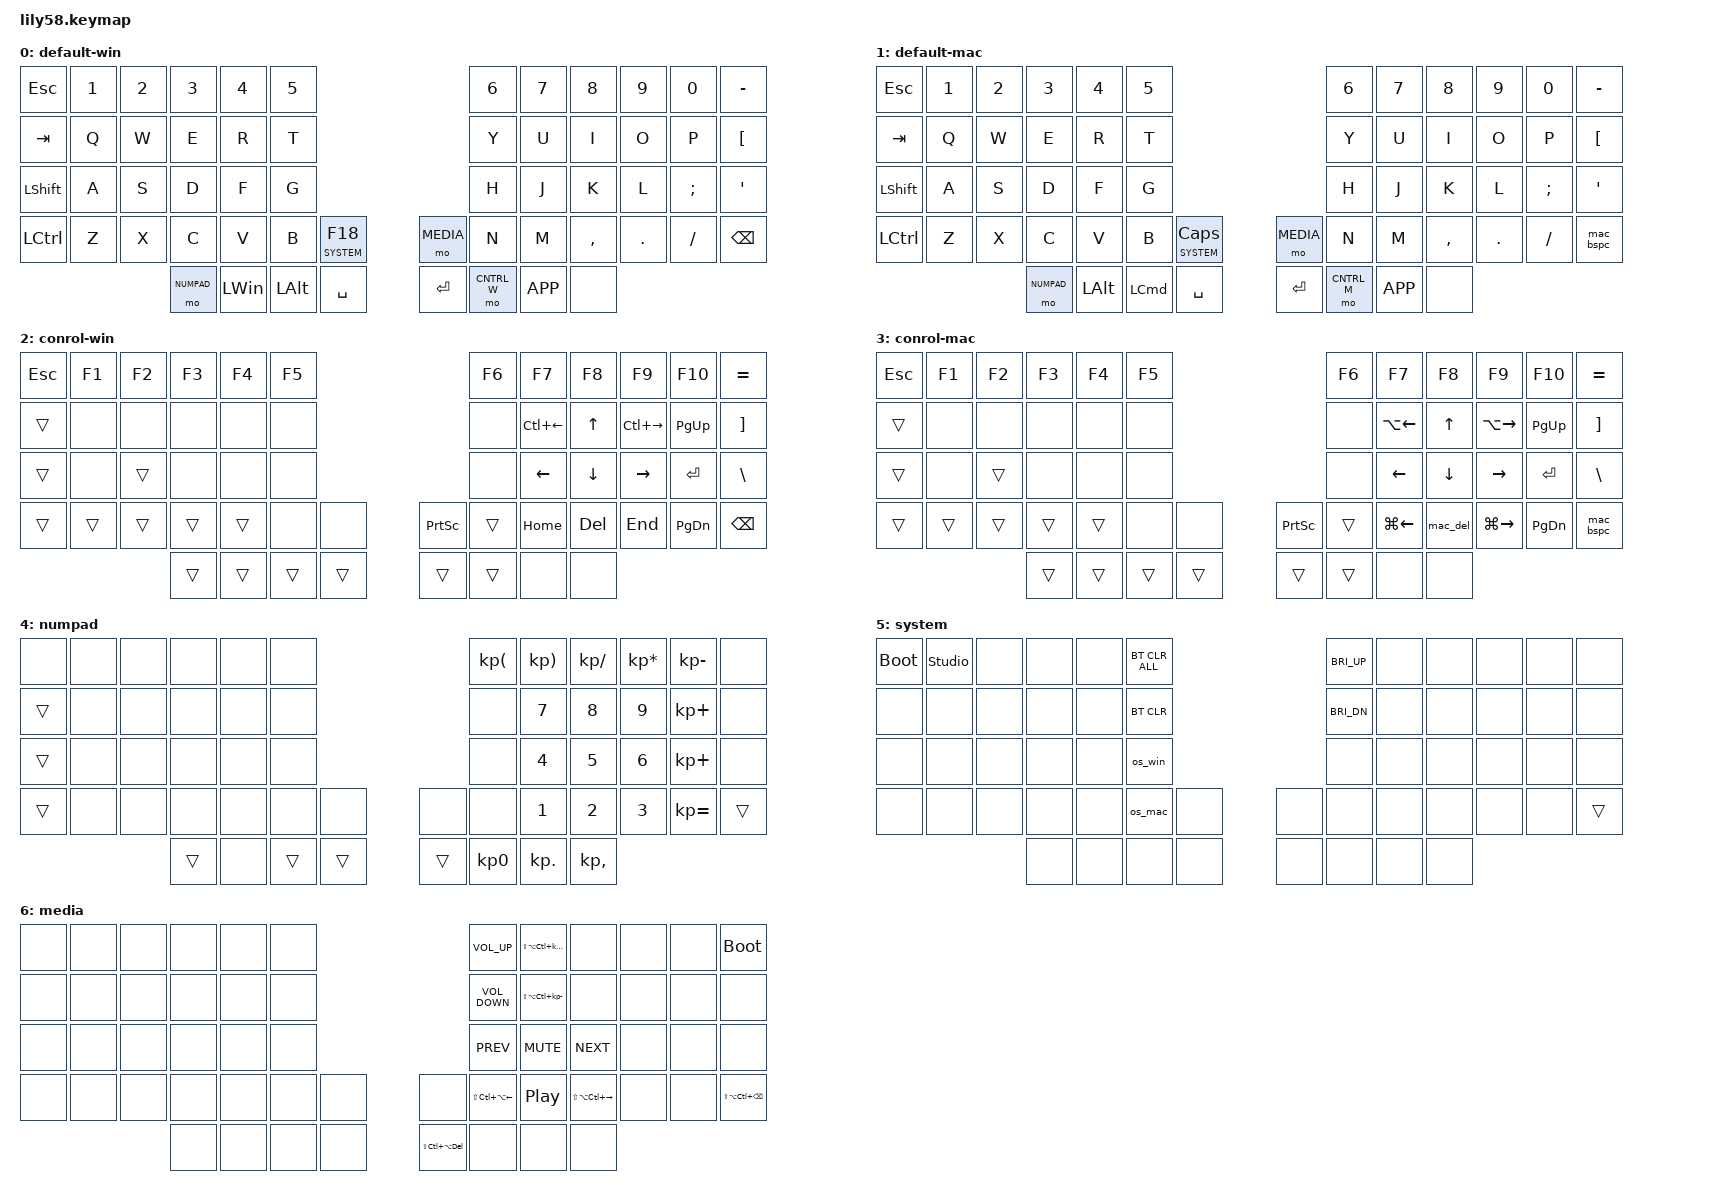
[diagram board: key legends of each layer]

#include <behaviors.dtsi>
#include <dt-bindings/zmk/bt.h>
#include <dt-bindings/zmk/keys.h>

#define DEF_WIN 0
#define DEF_MAC 1
#define CNTRL_W 2
#define CNTRL_M 3
#define NUMPAD  4
#define SYSTEM  5
#define MEDIA   6

/ {
    combos {
        compatible = "zmk,combos";

        combo_grave {
            timeout-ms = <150>;
            key-positions = <0 1>;
            bindings = <&kp GRAVE>;
        };
    };

    behaviors {
        ss_hs_modmorph: ss_hs_modmorph {
            compatible = "zmk,behavior-mod-morph";
            bindings = <&kp M>, <&kp RIGHT_BRACKET>;

            #binding-cells = <0>;
            mods = <(MOD_LSFT|MOD_RSFT)>;
        };

        kh_hs_tapdance: kh_hs_tapdance {
            compatible = "zmk,behavior-tap-dance";
            #binding-cells = <0>;
            tapping-term-ms = <200>;
            bindings = <&kp LEFT_BRACKET>, <&kp RIGHT_BRACKET>;
        };

        os_win: os_win {
            compatible = "zmk,behavior-macro";
            label = "OS_WIN";
            #binding-cells = <0>;
            bindings = <
                &bt BT_SEL 0     // подключиться к Windows
                &to DEF_WIN      // переключить базовый слой на default_win
            >;
        };

        os_mac: os_mac {
            compatible = "zmk,behavior-macro";
            label = "OS_MAC";
            #binding-cells = <0>;
            bindings = <
                &bt BT_SEL 1     // подключиться к macOS
                &to DEF_MAC      // переключить базовый слой на default_mac
            >;
        };

        lang_switch: lang_switch {
            compatible = "zmk,behavior-hold-tap";
            display-name = "Lang-Switch";
            #binding-cells = <2>;
            flavor = "tap-preferred";
            tapping-term-ms = <250>;
            quick-tap-ms = <250>;
            bindings = <&mo>, <&kp>;
        };

        mac_bspc: mac_bspc {
            compatible = "zmk,behavior-mod-morph";
            #binding-cells = <0>;
            mods = <(MOD_LSFT | MOD_RSFT)>;
            keep-mods = <0>;
            bindings = <&kp BACKSPACE>, <&kp BACKSPACE>;
        };

        mac_del: mac_del {
            compatible = "zmk,behavior-mod-morph";
            #binding-cells = <0>;
            mods = <(MOD_LSFT | MOD_RSFT)>;
            keep-mods = <0>;
            bindings = <&kp DELETE>, <&kp DELETE>;
        };
    };

    keymap {
        compatible = "zmk,keymap";

        default_win {
            bindings = <
&kp ESCAPE      &kp N1  &kp N2  &kp N3        &kp N4        &kp N5                                            &kp N6       &kp N7     &kp N8     &kp N9   &kp N0    &kp MINUS
&kp TAB         &kp Q   &kp W   &kp E         &kp R         &kp T                                             &kp Y        &kp U      &kp I      &kp O    &kp P     &kp LEFT_BRACKET
&kp LEFT_SHIFT  &kp A   &kp S   &kp D         &kp F         &kp G                                             &kp H        &kp J      &kp K      &kp L    &kp SEMI  &kp SQT
&kp LCTRL       &kp Z   &kp X   &kp C         &kp V         &kp B         &lang_switch SYSTEM F18  &mo MEDIA  &kp N        &kp M      &kp COMMA  &kp DOT  &kp FSLH  &kp BACKSPACE
                                &mo NUMPAD    &kp LEFT_WIN  &kp LEFT_ALT  &kp SPACE                &kp RET    &mo CNTRL_W  &kp K_APP  &none
            >;

            display-name = "default-win";
        };

        default_mac {
            bindings = <
&kp ESCAPE      &kp N1  &kp N2  &kp N3        &kp N4        &kp N5                                          &kp N6       &kp N7     &kp N8     &kp N9   &kp N0    &kp MINUS
&kp TAB         &kp Q   &kp W   &kp E         &kp R         &kp T                                           &kp Y        &kp U      &kp I      &kp O    &kp P     &kp LEFT_BRACKET
&kp LEFT_SHIFT  &kp A   &kp S   &kp D         &kp F         &kp G                                           &kp H        &kp J      &kp K      &kp L    &kp SEMI  &kp SQT
&kp LCTRL       &kp Z   &kp X   &kp C         &kp V         &kp B     &lang_switch SYSTEM CAPS   &mo MEDIA  &kp N        &kp M      &kp COMMA  &kp DOT  &kp FSLH  &mac_bspc
                                &mo NUMPAD    &kp LEFT_ALT  &kp LCMD  &kp SPACE                  &kp RET    &mo CNTRL_M  &kp K_APP  &none
            >;

            display-name = "default-mac";
        };

        control_win {
            bindings = <
&kp ESC  &kp F1  &kp F2  &kp F3  &kp F4  &kp F5                             &kp F6  &kp F7        &kp F8      &kp F9         &kp F10    &kp EQUAL
&trans   &none   &none   &none   &none   &none                              &none   &kp LC(LEFT)  &kp UP      &kp LC(RIGHT)  &kp PG_UP  &kp RIGHT_BRACKET
&trans   &none   &trans  &none   &none   &none                              &none   &kp LEFT      &kp DOWN    &kp RIGHT      &kp ENTER  &kp BACKSLASH
&trans   &trans  &trans  &trans  &trans  &none   &none     &kp PRINTSCREEN  &trans  &kp HOME      &kp DELETE  &kp END        &kp PG_DN  &kp BACKSPACE
                         &trans  &trans  &trans  &trans    &trans           &trans  &none         &none
            >;

            display-name = "conrol-win";
        };
        
        control_mac {
            bindings = <
&kp ESC  &kp F1  &kp F2  &kp F3  &kp F4  &kp F5                             &kp F6  &kp F7        &kp F8      &kp F9         &kp F10    &kp EQUAL
&trans   &none   &none   &none   &none   &none                              &none   &kp LA(LEFT)  &kp UP      &kp LA(RIGHT)  &kp PG_UP  &kp RIGHT_BRACKET
&trans   &none   &trans  &none   &none   &none                              &none   &kp LEFT      &kp DOWN    &kp RIGHT      &kp ENTER  &kp BACKSLASH
&trans   &trans  &trans  &trans  &trans  &none   &none     &kp PRINTSCREEN  &trans  &kp LG(LEFT)  &mac_del    &kp LG(RIGHT)  &kp PG_DN  &mac_bspc
                         &trans  &trans  &trans  &trans    &trans           &trans  &none         &none
            >;

            display-name = "conrol-mac";
        };

        additional {
            bindings = <
&none   &none  &none  &none   &none  &none                     &kp KP_LEFT_PARENTHESIS  &kp KP_RIGHT_PARENTHESIS  &kp KP_DIVIDE  &kp KP_MULTIPLY  &kp KP_MINUS  &none
&trans  &none  &none  &none   &none  &none                     &none                    &kp N7                    &kp N8         &kp N9           &kp KP_PLUS   &none
&trans  &none  &none  &none   &none  &none                     &none                    &kp N4                    &kp N5         &kp N6           &kp KP_PLUS   &none
&trans  &none  &none  &none   &none  &none   &none     &none   &none                    &kp N1                    &kp N2         &kp N3           &kp KP_EQUAL  &trans
                      &trans  &none  &trans  &trans    &trans  &kp KP_N0                &kp KP_DOT                &kp KP_COMMA
            >;

            display-name = "numpad";
        };

        system {
            bindings = <
&bootloader  &studio_unlock &none  &none  &none  &bt BT_CLR_ALL                &kp C_BRI_UP  &none  &none  &none  &none  &none
&none        &none          &none  &none  &none  &bt BT_CLR                    &kp C_BRI_DN  &none  &none  &none  &none  &none
&none        &none          &none  &none  &none  &os_win                       &none         &none  &none  &none  &none  &none
&none        &none          &none  &none  &none  &os_mac       &none    &none  &none         &none  &none  &none  &none  &trans
                                   &none  &none  &none         &none    &none  &none         &none  &none
            >;

            display-name = "system";
        };

        media {
            bindings = <
&none  &none  &none  &none  &none  &none                                &kp C_VOLUME_UP       &kp LS(LA(LC(KP_PLUS)))   &none                  &none  &none  &bootloader
&none  &none  &none  &none  &none  &none                                &kp C_VOLUME_DOWN     &kp LS(LA(LC(KP_MINUS)))  &none                  &none  &none  &none
&none  &none  &none  &none  &none  &none                                &kp C_PREV            &kp C_MUTE                &kp C_NEXT             &none  &none  &none
&none  &none  &none  &none  &none  &none  &none    &none                &kp LS(LC(LA(LEFT)))  &kp C_PLAY_PAUSE          &kp LS(LA(LC(RIGHT)))  &none  &none  &kp LS(LA(LC(BACKSPACE)))
                     &none  &none  &none  &none    &kp LS(LC(LA(DEL)))  &none                 &none                     &none
            >;

            display-name = "media";
        };
    };
};
